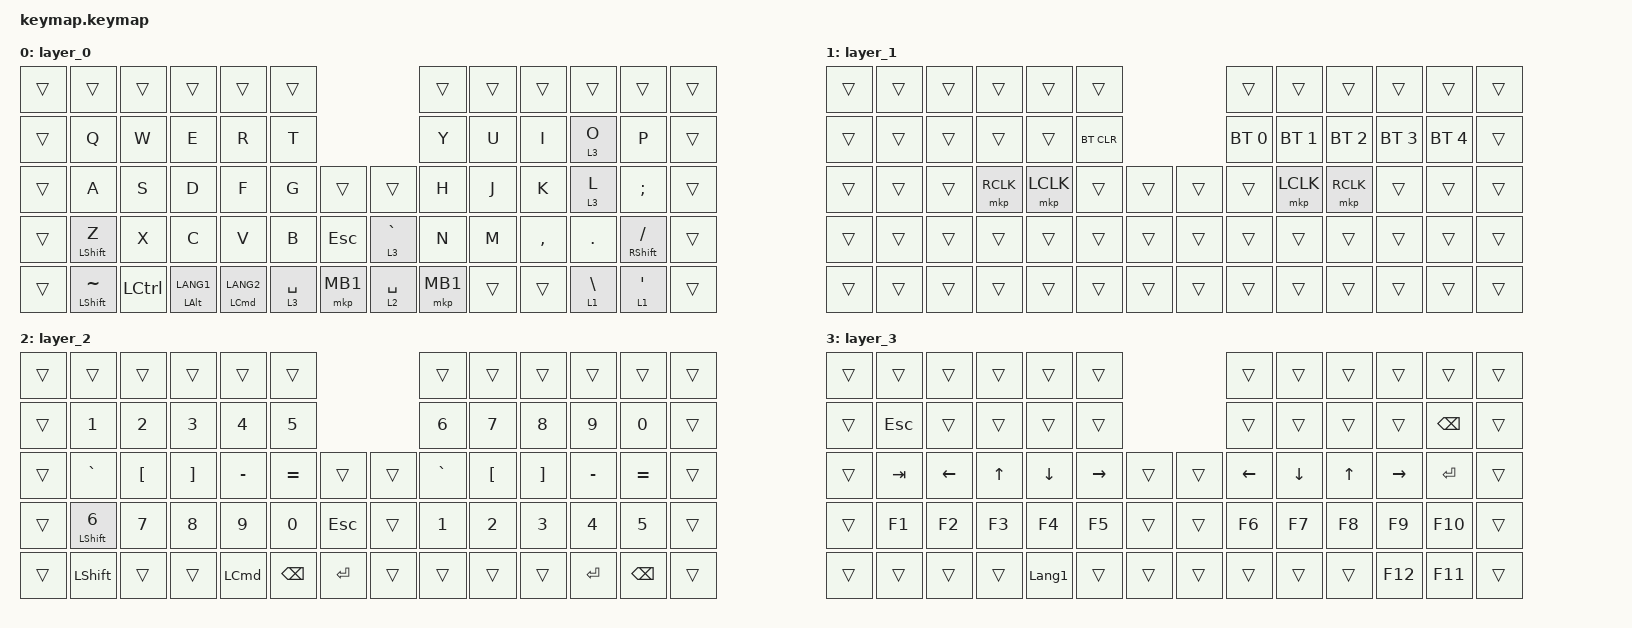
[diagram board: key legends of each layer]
#include <behaviors.dtsi>
#include <dt-bindings/zmk/bt.h>
#include <dt-bindings/zmk/keys.h>
#include <dt-bindings/zmk/pointing.h>

/ {
    combos {
        compatible = "zmk,combos";

        bt_clear {
            bindings = <&bt BT_CLR>;
            key-positions = <28 29>;
            layers = <2>;
        };
    };

    keymap {
        compatible = "zmk,keymap";

        layer_0 {
            bindings = <
&trans  &trans                &trans     &trans          &trans                  &trans                              &trans    &trans  &trans     &trans           &trans                &trans
&trans  &kp Q                 &kp W      &kp E           &kp R                   &kp T                               &kp Y     &kp U   &kp I      &lt 3 O          &kp P                 &trans
&trans  &kp A                 &kp S      &kp D           &kp F                   &kp G        &trans    &trans       &kp H     &kp J   &kp K      &lt 3 L          &kp SEMI              &trans
&trans  &mt LEFT_SHIFT Z      &kp X      &kp C           &kp V                   &kp B        &kp ESC   &lt 3 GRAVE  &kp N     &kp M   &kp COMMA  &kp DOT          &mt RIGHT_SHIFT FSLH  &trans
&trans  &mt LEFT_SHIFT TILDE  &kp LCTRL  &mt LALT LANG1  &mt LEFT_COMMAND LANG2  &lt 3 SPACE  &mkp MB1  &lt 2 SPACE  &mkp MB1  &trans  &trans     &lt 1 BACKSLASH  &lt 1 SQT             &trans
            >;
        };

        layer_1 {
            bindings = <
&trans  &trans  &trans  &trans     &trans     &trans                      &trans        &trans        &trans        &trans        &trans        &trans
&trans  &trans  &trans  &trans     &trans     &bt BT_CLR                  &bt BT_SEL 0  &bt BT_SEL 1  &bt BT_SEL 2  &bt BT_SEL 3  &bt BT_SEL 4  &trans
&trans  &trans  &trans  &mkp RCLK  &mkp LCLK  &trans      &trans  &trans  &trans        &mkp LCLK     &mkp RCLK     &trans        &trans        &trans
&trans  &trans  &trans  &trans     &trans     &trans      &trans  &trans  &trans        &trans        &trans        &trans        &trans        &trans
&trans  &trans  &trans  &trans     &trans     &trans      &trans  &trans  &trans        &trans        &trans        &trans        &trans        &trans
            >;
        };

        layer_2 {
            bindings = <
&trans  &trans                   &trans            &trans             &trans            &trans                             &trans        &trans            &trans             &trans        &trans         &trans
&trans  &kp N1                   &kp NUMBER_2      &kp N3             &kp N4            &kp N5                             &kp N6        &kp N7            &kp N8             &kp N9        &kp N0         &trans
&trans  &kp GRAVE                &kp LEFT_BRACKET  &kp RIGHT_BRACKET  &kp MINUS         &kp EQUAL      &trans      &trans  &kp GRAVE     &kp LEFT_BRACKET  &kp RIGHT_BRACKET  &kp MINUS     &kp EQUAL      &trans
&trans  &mt LEFT_SHIFT NUMBER_6  &kp N7            &kp N8             &kp N9            &kp N0         &kp ESCAPE  &trans  &kp NUMBER_1  &kp NUMBER_2      &kp NUMBER_3       &kp NUMBER_4  &kp N5         &trans
&trans  &kp LEFT_SHIFT           &trans            &trans             &kp LEFT_COMMAND  &kp BACKSPACE  &kp ENTER   &trans  &trans        &trans            &trans             &kp RET       &kp BACKSPACE  &trans
            >;
        };

        layer_3 {
            bindings = <
&trans  &trans   &trans    &trans        &trans          &trans                     &trans    &trans    &trans        &trans     &trans         &trans
&trans  &kp ESC  &trans    &trans        &trans          &trans                     &trans    &trans    &trans        &trans     &kp BACKSPACE  &trans
&trans  &kp TAB  &kp LEFT  &kp UP_ARROW  &kp DOWN        &kp RIGHT  &trans  &trans  &kp LEFT  &kp DOWN  &kp UP_ARROW  &kp RIGHT  &kp RET        &trans
&trans  &kp F1   &kp F2    &kp F3        &kp F4          &kp F5     &trans  &trans  &kp F6    &kp F7    &kp F8        &kp F9     &kp F10        &trans
&trans  &trans   &trans    &trans        &kp LANGUAGE_1  &trans     &trans  &trans  &trans    &trans    &trans        &kp F12    &kp F11        &trans
            >;
        };
    };
};
